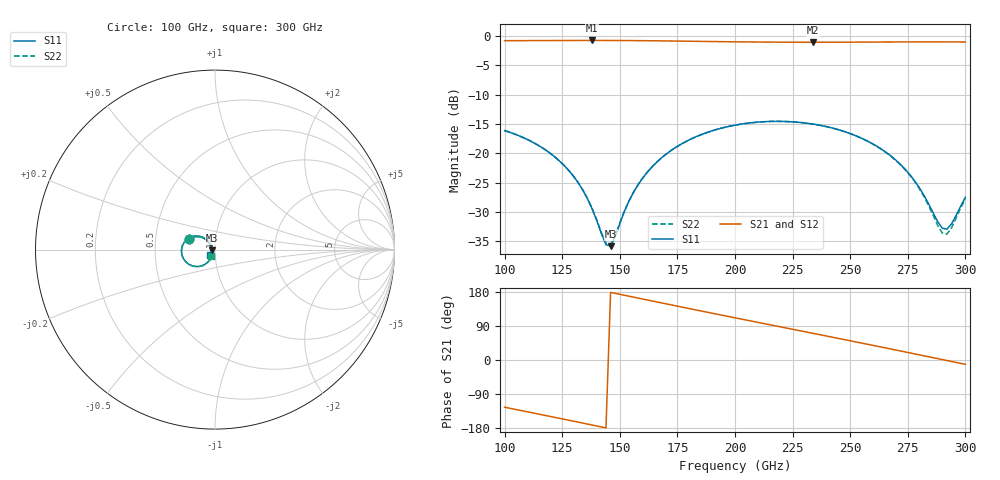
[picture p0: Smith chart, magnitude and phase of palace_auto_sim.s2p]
#  GHZ S DB R 50
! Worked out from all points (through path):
!   101 points, 100 GHz to 300 GHz, reference 50 ohm
!   highest |S21| = -0.77 dB at 138 GHz (marker M1); lowest = -1.1 dB at 234 GHz (marker M2)
!   group delay of S21, straight-line fit = 3.42 ps
!   lowest |S11| = -35.9 dB at 146 GHz (marker M3), VSWR 1.03, Z = 48.5 - j0.441 ohm
!   |S11| at or under -10 dB: start of sweep to end of sweep
!   |S22| runs from -35.6 to -14.6 dB; largest |S21 - S12| = 1.1e-14
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100  -16.15 157.9  -0.80 -124.6  -0.80 -124.6  -16.14 158.1
110  -17.69 146.7  -0.79 -136.9  -0.79 -136.9  -17.68 147.0
120  -20.08 136.6  -0.78 -149.2  -0.78 -149.2  -20.07 136.9
128  -23.02 130.4  -0.77 -159.1  -0.77 -159.1  -23.00 130.8
134  -26.33 129.1  -0.77 -166.6  -0.77 -166.6  -26.29 129.7
138  -29.50 133.2  -0.77 -171.6  -0.77 -171.6  -29.43 133.9
144  -35.60 169.8  -0.77 -179.1  -0.77 -179.1  -35.36 170.2
146  -35.86 -163.6  -0.77 178.4  -0.77 178.4  -35.62 -164.1
156  -26.63 -117.2  -0.79 165.8  -0.79 165.8  -26.61 -117.6
162  -23.21 -117.9  -0.81 158.3  -0.81 158.3  -23.20 -118.2
168  -20.83 -122.1  -0.84 150.8  -0.84 150.8  -20.82 -122.3
182  -17.38 -135.7  -0.91 133.4  -0.91 133.4  -17.38 -135.8
200  -15.22 -155.2  -1.00 111.4  -1.00 111.4  -15.22 -155.3
216  -14.58 -172.8  -1.05 92.0  -1.05 92.0  -14.58 -172.8
234  -15.04 167.6  -1.07 70.2  -1.07 70.2  -15.04 167.5
252  -16.95 148.8  -1.06 48.3  -1.06 48.3  -16.96 148.5
268  -20.58 134.8  -1.03 28.6  -1.03 28.6  -20.62 134.1
278  -24.73 131.8  -1.01 16.1  -1.01 16.1  -24.85 130.4
290  -32.80 171.7  -1.02 1.1  -1.02 1.1  -33.62 171.1
292  -32.95 -169.9  -1.02 -1.4  -1.02 -1.4  -33.80 -168.3
294  -32.05 -153.3  -1.02 -3.9  -1.02 -3.9  -32.71 -150.1
300  -27.52 -129.2  -1.03 -11.5  -1.03 -11.5  -27.72 -126.0
